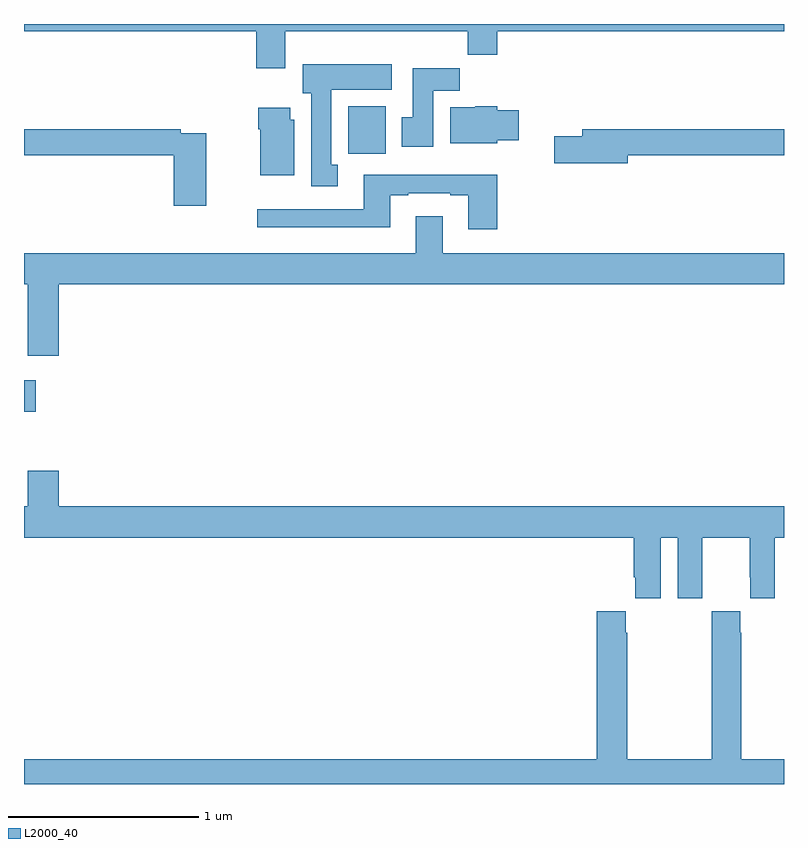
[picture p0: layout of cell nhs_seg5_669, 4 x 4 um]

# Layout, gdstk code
import gdstk
lib = gdstk.Library(unit=1e-6, precision=1e-09)
def R(c, l, rs):  # rectangles x0, y0, x1, y1
    for r in rs: c.add(gdstk.rectangle(r[:2], r[2:], *l))
def P(c, l, *ps):  # polygons
    for p in ps: c.add(gdstk.Polygon(p, *l))
L2000_40 = (2000, 40)

nhs_seg5_669 = lib.new_cell('nhs_seg5_669')
R(nhs_seg5_669, L2000_40, [(153,854.758,153.061,854.923), (154.707,856.116,154.903,856.366)])
P(nhs_seg5_669, L2000_40, [(154.375,856.76),(155.335,856.76),(155.335,856.636),(155.492,856.636),(155.492,856.76),(157,856.76),(157,856.799),(153,856.799),(153,856.76),(154.223,856.76),(154.223,856.566),(154.375,856.566)],
  [(154.651,856.057),(154.618,856.057),(154.618,856.454),(154.936,856.454),(154.936,856.588),(154.466,856.588),(154.466,856.434),(154.511,856.434),(154.511,855.945),(154.651,855.945)],
  [(155.155,856.448),(155.294,856.448),(155.294,856.567),(155.045,856.567),(155.045,856.308),(154.988,856.308),(154.988,856.152),(155.155,856.152)],
  [(155.49,856.187),(155.605,856.187),(155.605,856.345),(155.49,856.345),(155.49,856.366),(155.376,856.366),(155.376,856.36),(155.243,856.36),(155.243,856.172),(155.49,856.172)],
  [(154.423,856.296),(154.402,856.296),(154.402,856.357),(154.232,856.357),(154.232,856.244),(154.244,856.244),(154.244,856.004),(154.423,856.004)],
  [(156.178,856.108),(157,856.108),(157,856.244),(155.939,856.244),(155.939,856.208),(155.79,856.208),(155.79,856.066),(156.178,856.066)],
  [(153.958,856.224),(153.824,856.224),(153.824,856.244),(153,856.244),(153,856.108),(153.788,856.108),(153.788,855.843),(153.958,855.843)],
  [(155.492,856.006),(154.787,856.006),(154.787,855.825),(154.227,855.825),(154.227,855.728),(154.927,855.728),(154.927,855.897),(155.023,855.897),(155.023,855.909),(155.243,855.909),(155.243,855.897),(155.339,855.897),(155.339,855.72),(155.492,855.72)],
  [(153.184,855.428),(157,855.428),(157,855.592),(155.203,855.592),(155.203,855.787),(155.063,855.787),(155.063,855.592),(153,855.592),(153,855.428),(153.02,855.428),(153.02,855.054),(153.184,855.054)],
  [(153.02,854.449),(153.02,854.26),(153,854.26),(153,854.096),(156.209,854.096),(156.209,853.888),(156.218,853.888),(156.218,853.776),(156.352,853.776),(156.352,854.096),(156.44,854.096),(156.44,853.776),(156.57,853.776),(156.57,853.888),(156.571,853.888),(156.571,854.096),(156.821,854.096),(156.821,853.888),(156.822,853.888),(156.822,853.776),(156.952,853.776),(156.952,854.096),(157,854.096),(157,854.26),(153.184,854.26),(153.184,854.449)],
  [(157,852.928),(156.774,852.928),(156.774,853.595),(156.771,853.595),(156.771,853.708),(156.621,853.708),(156.621,853.595),(156.619,853.595),(156.619,852.928),(156.174,852.928),(156.174,853.595),(156.167,853.595),(156.167,853.708),(156.014,853.708),(156.014,852.928),(153,852.928),(153,852.799),(157,852.799)])

lib.write_gds('nhs_seg5_669.gds')
